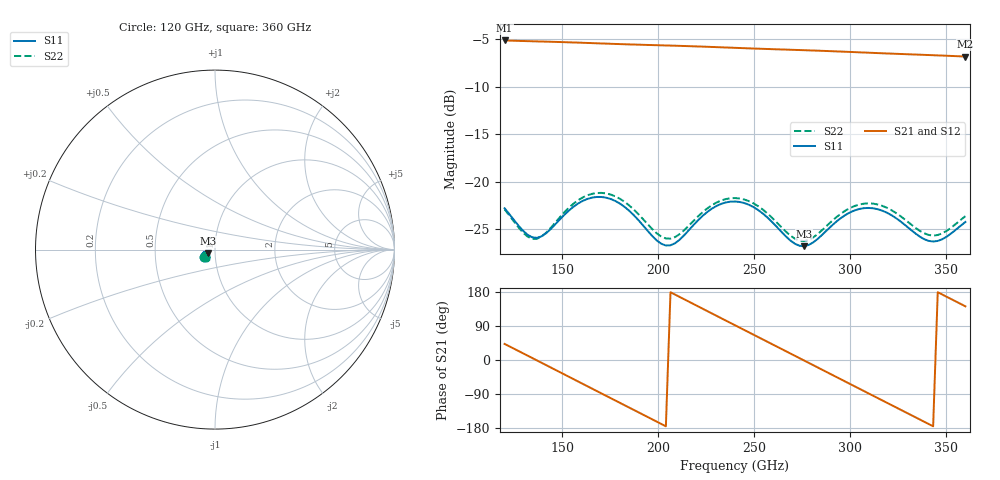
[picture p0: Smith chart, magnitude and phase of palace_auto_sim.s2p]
#  GHZ S DB R 50
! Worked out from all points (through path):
!   101 points, 120 GHz to 360 GHz, reference 50 ohm
!   highest |S21| = -5.12 dB at 120 GHz (marker M1); lowest = -6.8 dB at 360 GHz (marker M2)
!   group delay of S21, straight-line fit = 7.19 ps
!   lowest |S11| = -26.8 dB at 276 GHz (marker M3), VSWR 1.10, Z = 46 - j1.93 ohm
!   |S11| at or under -10 dB: start of sweep to end of sweep
!   |S22| runs from -26.2 to -21.2 dB; largest |S21 - S12| = 8.2e-13
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120  -22.80 -146.1  -5.12 42.4  -5.12 42.4  -22.91 -145.4
132  -25.59 -140.7  -5.19 11.4  -5.19 11.4  -25.78 -138.1
139.2  -25.75 -129.0  -5.23 -7.2  -5.23 -7.2  -25.78 -125.0
148.8  -23.96 -122.1  -5.28 -32.1  -5.28 -32.1  -23.73 -118.0
160.8  -22.01 -130.4  -5.36 -63.2  -5.36 -63.2  -21.64 -126.7
170.4  -21.60 -142.2  -5.43 -88.1  -5.43 -88.1  -21.17 -138.5
180  -22.29 -153.7  -5.50 -112.9  -5.50 -112.9  -21.79 -150.0
192  -24.58 -160.7  -5.57 -143.9  -5.57 -143.9  -23.92 -157.2
201.6  -26.53 -152.3  -5.63 -168.8  -5.63 -168.8  -25.78 -150.1
218.4  -24.56 -132.6  -5.73 147.7  -5.73 147.7  -24.12 -131.3
230.4  -22.55 -139.8  -5.82 116.6  -5.82 116.6  -22.19 -137.6
240  -22.08 -150.6  -5.89 91.7  -5.89 91.7  -21.72 -147.7
249.6  -22.66 -161.1  -5.97 66.9  -5.97 66.9  -22.27 -157.7
259.2  -24.22 -167.3  -6.03 42.1  -6.03 42.1  -23.77 -163.5
276  -26.79 -152.8  -6.14 -1.3  -6.14 -1.3  -26.24 -149.2
280.8  -26.38 -145.9  -6.18 -13.8  -6.18 -13.8  -25.86 -142.3
290.4  -24.63 -140.9  -6.25 -38.6  -6.25 -38.6  -24.15 -137.1
302.4  -23.01 -147.9  -6.35 -69.7  -6.35 -69.7  -22.55 -143.5
312  -22.80 -157.0  -6.43 -94.5  -6.43 -94.5  -22.31 -152.2
321.6  -23.54 -164.8  -6.50 -119.2  -6.50 -119.2  -23.01 -159.6
340.8  -26.23 -159.5  -6.65 -168.7  -6.65 -168.7  -25.60 -153.9
360  -24.24 -145.7  -6.81 141.7  -6.81 141.7  -23.62 -139.4
